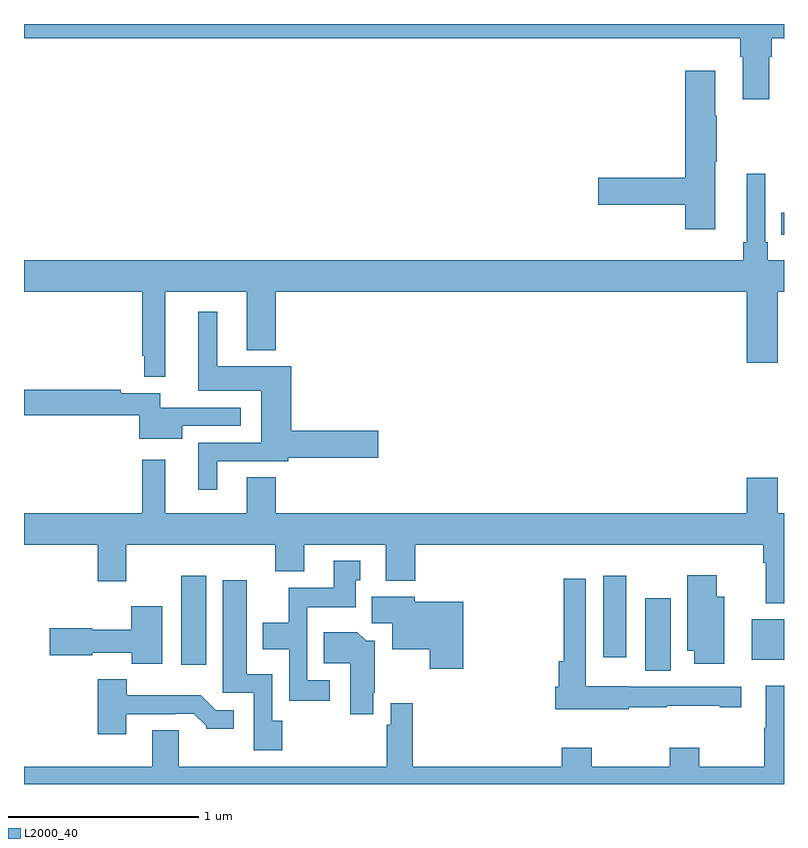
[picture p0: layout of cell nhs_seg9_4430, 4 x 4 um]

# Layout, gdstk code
import gdstk
lib = gdstk.Library(unit=1e-6, precision=1e-09)
def R(c, l, rs):  # rectangles x0, y0, x1, y1
    for r in rs: c.add(gdstk.rectangle(r[:2], r[2:], *l))
def P(c, l, *ps):  # polygons
    for p in ps: c.add(gdstk.Polygon(p, *l))
L2000_40 = (2000, 40)

nhs_seg9_4430 = lib.new_cell('nhs_seg9_4430')
R(nhs_seg9_4430, L2000_40, [(368.27,1189.096,368.404,1189.477), (365.828,1189.128,365.959,1189.597), (368.831,1189.154,369,1189.366), (368.048,1189.167,368.17,1189.597), (368.986,1191.39,369,1191.506)])
P(nhs_seg9_4430, L2000_40, [(368.923,1192.328),(368.936,1192.328),(368.936,1192.424),(369,1192.424),(369,1192.5),(365,1192.5),(365,1192.424),(368.771,1192.424),(368.771,1192.328),(368.783,1192.328),(368.783,1192.104),(368.923,1192.104)],
  [(368.638,1191.775),(368.646,1191.775),(368.646,1192.016),(368.638,1192.016),(368.638,1192.255),(368.48,1192.255),(368.48,1191.692),(368.022,1191.692),(368.022,1191.55),(368.48,1191.55),(368.48,1191.42),(368.638,1191.42)],
  [(365.743,1191.092),(366.173,1191.092),(366.173,1190.783),(366.326,1190.783),(366.326,1191.092),(368.804,1191.092),(368.804,1190.718),(368.968,1190.718),(368.968,1191.092),(369,1191.092),(369,1191.256),(368.915,1191.256),(368.915,1191.352),(368.901,1191.352),(368.901,1191.712),(368.804,1191.712),(368.804,1191.352),(368.785,1191.352),(368.785,1191.256),(365,1191.256),(365,1191.092),(365.622,1191.092),(365.622,1190.755),(365.632,1190.755),(365.632,1190.643),(365.743,1190.643)],
  [(366.016,1190.199),(366.39,1190.199),(366.39,1190.218),(366.865,1190.218),(366.865,1190.36),(366.407,1190.36),(366.407,1190.698),(366.016,1190.698),(366.016,1190.986),(365.918,1190.986),(365.918,1190.57),(366.248,1190.57),(366.248,1190.295),(365.918,1190.295),(365.918,1190.049),(366.016,1190.049)],
  [(365.833,1190.385),(366.142,1190.385),(366.142,1190.481),(365.716,1190.481),(365.716,1190.556),(365.51,1190.556),(365.51,1190.576),(365,1190.576),(365,1190.44),(365.606,1190.44),(365.606,1190.318),(365.833,1190.318)],
  [(369,1189.924),(368.968,1189.924),(368.968,1190.113),(368.804,1190.113),(368.804,1189.924),(366.326,1189.924),(366.326,1190.114),(366.173,1190.114),(366.173,1189.924),(365.743,1189.924),(365.743,1190.206),(365.622,1190.206),(365.622,1189.924),(365,1189.924),(365,1189.76),(365.387,1189.76),(365.387,1189.566),(365.539,1189.566),(365.539,1189.76),(366.323,1189.76),(366.323,1189.619),(366.475,1189.619),(366.475,1189.76),(366.905,1189.76),(366.905,1189.571),(367.058,1189.571),(367.058,1189.76),(368.891,1189.76),(368.891,1189.664),(368.903,1189.664),(368.903,1189.451),(369,1189.451)],
  [(366.61,1189.047),(366.492,1189.047),(366.492,1189.43),(366.745,1189.43),(366.745,1189.572),(366.769,1189.572),(366.769,1189.675),(366.629,1189.675),(366.629,1189.534),(366.394,1189.534),(366.394,1189.348),(366.257,1189.348),(366.257,1189.208),(366.396,1189.208),(366.396,1188.939),(366.61,1188.939)],
  [(368.686,1189.486),(368.647,1189.486),(368.647,1189.6),(368.492,1189.6),(368.492,1189.202),(368.528,1189.202),(368.528,1189.134),(368.686,1189.134)],
  [(368.184,1188.903),(368.384,1188.903),(368.384,1188.913),(368.663,1188.913),(368.663,1188.903),(368.776,1188.903),(368.776,1189.011),(368.184,1189.011),(368.184,1189.015),(367.956,1189.015),(367.956,1189.579),(367.84,1189.579),(367.84,1189.147),(367.814,1189.147),(367.814,1189.011),(367.796,1189.011),(367.796,1188.893),(368.184,1188.893)],
  [(366.359,1188.834),(366.306,1188.834),(366.306,1189.078),(366.172,1189.078),(366.172,1189.573),(366.047,1189.573),(366.047,1188.981),(366.21,1188.981),(366.21,1188.678),(366.359,1188.678)],
  [(367.313,1189.459),(367.056,1189.459),(367.056,1189.486),(366.83,1189.486),(366.83,1189.347),(366.938,1189.347),(366.938,1189.208),(367.135,1189.208),(367.135,1189.107),(367.313,1189.107)],
  [(365.728,1189.435),(365.564,1189.435),(365.564,1189.312),(365.358,1189.312),(365.358,1189.32),(365.136,1189.32),(365.136,1189.178),(365.358,1189.178),(365.358,1189.19),(365.566,1189.19),(365.566,1189.133),(365.728,1189.133)],
  [(366.838,1188.979),(366.846,1188.979),(366.846,1189.255),(366.8,1189.255),(366.755,1189.3),(366.577,1189.3),(366.577,1189.136),(366.716,1189.136),(366.716,1188.867),(366.838,1188.867)],
  [(365.539,1188.867),(365.795,1188.867),(365.795,1188.87),(365.894,1188.87),(365.958,1188.806),(365.958,1188.791),(366.103,1188.791),(366.103,1188.888),(366.009,1188.888),(365.931,1188.967),(365.542,1188.967),(365.542,1189.051),(365.387,1189.051),(365.387,1188.762),(365.539,1188.762)],
  [(369,1189.018),(368.903,1189.018),(368.903,1188.797),(368.896,1188.797),(368.896,1188.592),(368.553,1188.592),(368.553,1188.691),(368.398,1188.691),(368.398,1188.592),(367.989,1188.592),(367.989,1188.691),(367.829,1188.691),(367.829,1188.592),(367.046,1188.592),(367.046,1188.925),(366.93,1188.925),(366.93,1188.812),(366.91,1188.812),(366.91,1188.592),(365.815,1188.592),(365.815,1188.782),(365.675,1188.782),(365.675,1188.592),(365,1188.592),(365,1188.5),(369,1188.5)])

lib.write_gds('nhs_seg9_4430.gds')
